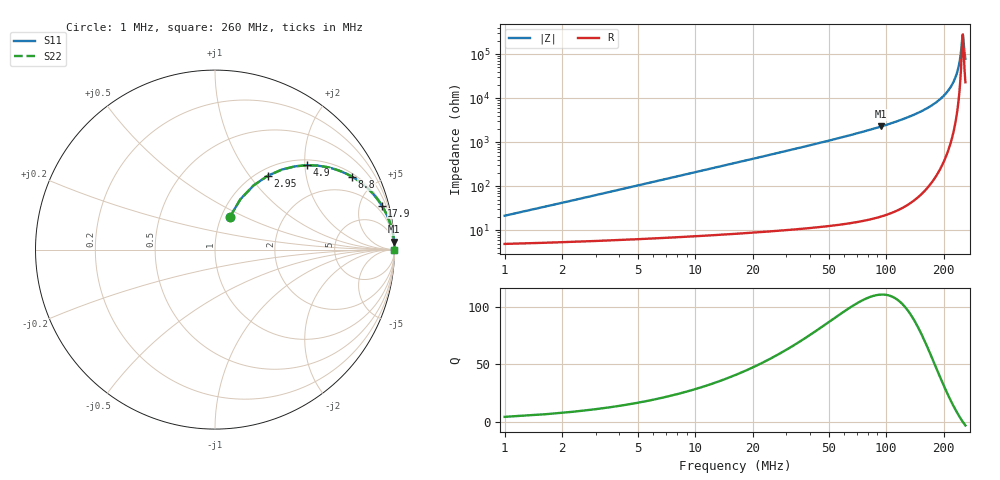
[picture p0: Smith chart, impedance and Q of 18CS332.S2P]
! Coilcraft 1812CS-332 Chip Inductor
! 31 July 2002
# MHZ S MA R 50
!Freq  MagS11  AngS11  MagS21  AngS21  MagS12  AngS12  MagS22  AngS22
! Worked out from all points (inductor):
!   400 points, 1 MHz to 260 MHz, reference 50 ohm
!   read as one part in series: L = 3.33 uH near 2.3 MHz
!   highest Q = 111 at 93.95 MHz (marker M1), where L = 3.87 uH
!   self-resonance near 251.2 MHz
!   S11 on the Smith chart (normalised r, x): 1 MHz: 1.10, +0.42; 2.95 MHz: 1.11, +1.23; 4.9 MHz: 1.13, +2.05; 8.8 MHz: 1.14, +3.69; 17.9 MHz: 1.17, +7.53; 260 MHz: open
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1  0.2009 65.5  0.9347 -11.3  0.9347 -11.3  0.2009 65.5
1.65  0.3153 63.2  0.9029 -18.2  0.9029 -18.2  0.3153 63.2
2.95  0.5064 54.4  0.8168 -30.3  0.8168 -30.3  0.5064 54.4
4.9  0.6957 42.5  0.6771 -44.0  0.6771 -44.0  0.6957 42.5
8.8  0.8653 27.9  0.469 -59.8  0.469 -59.8  0.8653 27.9
12.7  0.9274 20.4  0.348 -68.0  0.348 -68.0  0.9274 20.4
17.9  0.9611 14.8  0.2552 -73.9  0.2552 -73.9  0.9611 14.8
29.6  0.9851 9.0  0.1568 -80.1  0.1568 -80.1  0.9851 9.0
44.55  0.9934 5.9  0.1032 -83.4  0.1032 -83.4  0.9934 5.9
87.45  0.9984 2.8  0.04798 -86.7  0.04798 -86.7  0.9984 2.8
93.95  0.9986 2.5  0.04373 -87.0  0.04373 -87.0  0.9986 2.5
131  0.9994 1.5  0.02659 -87.9  0.02659 -87.9  0.9994 1.5
173.9  0.9996 0.8  0.01437 -88.1  0.01437 -88.1  0.9996 0.8
198.6  0.9997 0.5  0.009094 -87.7  0.009094 -87.7  0.9997 0.5
217.45  0.9997 0.3  0.005593 -86.6  0.005593 -86.6  0.9997 0.3
230.45  0.9997 0.2  0.003381 -84.4  0.003381 -84.4  0.9997 0.2
239.55  0.9997 0.1  0.001922 -79.9  0.001922 -79.9  0.9997 0.1
245.4  0.9997 0.1  0.001036 -70.6  0.001036 -70.6  0.9997 0.1
251.25  0.9996 0.0  0.0003643 -13.2  0.0003643 -13.2  0.9996 0.0
252.55  0.9996 -0.0  0.0003746 17.5  0.0003746 17.5  0.9996 -0.0
256.45  0.9996 -0.0  0.0007843 62.2  0.0007843 62.2  0.9996 -0.0
260  0.9996 -0.1  0.001272 72.9  0.001272 72.9  0.9996 -0.1
